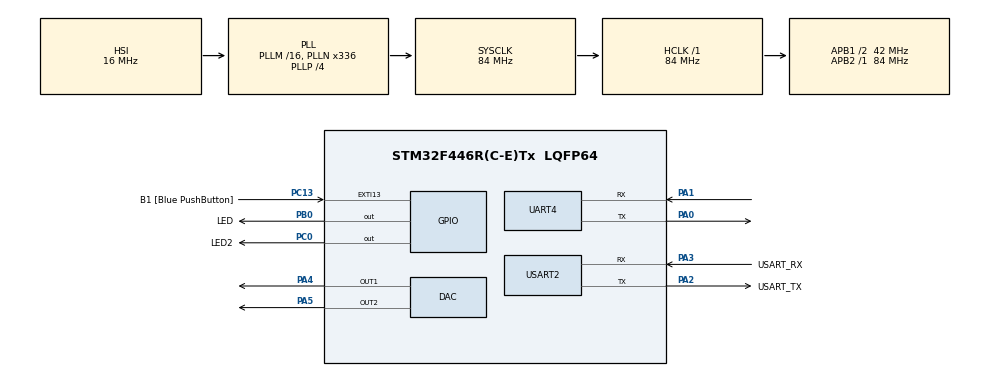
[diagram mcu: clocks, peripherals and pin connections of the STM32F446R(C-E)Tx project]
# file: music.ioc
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DAC.DAC_Trigger=DAC_TRIGGER_T6_TRGO
DAC.DAC_Trigger2=DAC_TRIGGER_T7_TRGO
Dma.DAC1.0.Direction=DMA_MEMORY_TO_PERIPH
Dma.DAC1.0.FIFOMode=DMA_FIFOMODE_DISABLE
Dma.DAC1.0.Instance=DMA1_Stream5
Dma.DAC1.0.MemDataAlignment=DMA_MDATAALIGN_WORD
Dma.DAC1.0.MemInc=DMA_MINC_ENABLE
Dma.DAC1.0.Mode=DMA_CIRCULAR
Dma.DAC1.0.PeriphDataAlignment=DMA_PDATAALIGN_WORD
Dma.DAC1.0.PeriphInc=DMA_PINC_DISABLE
Dma.DAC1.0.Priority=DMA_PRIORITY_LOW
Dma.DAC2.1.Direction=DMA_MEMORY_TO_PERIPH
Dma.DAC2.1.FIFOMode=DMA_FIFOMODE_DISABLE
Dma.DAC2.1.Instance=DMA1_Stream6
Dma.DAC2.1.MemDataAlignment=DMA_MDATAALIGN_WORD
Dma.DAC2.1.MemInc=DMA_MINC_ENABLE
Dma.DAC2.1.Mode=DMA_CIRCULAR
Dma.DAC2.1.PeriphDataAlignment=DMA_PDATAALIGN_WORD
Dma.DAC2.1.PeriphInc=DMA_PINC_DISABLE
Dma.DAC2.1.Priority=DMA_PRIORITY_LOW
Dma.Request0=DAC1
Dma.Request1=DAC2
Mcu.Family=STM32F4
Mcu.Name=STM32F446R(C-E)Tx
Mcu.Package=LQFP64
NVIC.DMA1_Stream5_IRQn=true\:0\:0\:false\:false\:true\:false\:true\:true
NVIC.DMA1_Stream6_IRQn=true\:0\:0\:false\:false\:true\:false\:true\:true
NVIC.PriorityGroup=NVIC_PRIORITYGROUP_0
NVIC.TIM3_IRQn=true\:0\:0\:false\:false\:true\:true\:true\:true
NVIC.TIM4_IRQn=true\:0\:0\:false\:false\:true\:true\:true\:true
NVIC.UART4_IRQn=true\:0\:0\:false\:false\:true\:true\:true\:true
NVIC.USART2_IRQn=true\:0\:0\:false\:false\:true\:true\:true\:true
PA0-WKUP.Mode=Asynchronous
PA0-WKUP.Signal=UART4_TX
PA1.Mode=Asynchronous
PA1.Signal=UART4_RX
PA13.GPIO_Label=TMS
PA13.Mode=Serial_Wire
PA13.Signal=SYS_JTMS-SWDIO
PA14.GPIO_Label=TCK
PA14.Mode=Serial_Wire
PA14.Signal=SYS_JTCK-SWCLK
PA2.GPIO_Label=USART_TX
PA2.Mode=Asynchronous
PA2.Signal=USART2_TX
PA3.GPIO_Label=USART_RX
PA3.Mode=Asynchronous
PA3.Signal=USART2_RX
PA4.Signal=COMP_DAC1_group
PA5.Signal=COMP_DAC2_group
PB0.GPIO_Label=LED
PB0.Signal=GPIO_Output
PB3.GPIO_Label=SWO
PB3.Signal=SYS_JTDO-SWO
PC0.GPIO_Label=LED2
PC0.Signal=GPIO_Output
PC13.GPIO_Label=B1 [Blue PushButton]
PC13.GPIO_ModeDefaultEXTI=GPIO_MODE_IT_FALLING
PC13.Signal=GPXTI13
PC14-OSC32_IN.Mode=LSE-External-Oscillator
PC14-OSC32_IN.Signal=RCC_OSC32_IN
PC15-OSC32_OUT.Mode=LSE-External-Oscillator
PC15-OSC32_OUT.Signal=RCC_OSC32_OUT
PH0-OSC_IN.Mode=HSE-External-Oscillator
PH0-OSC_IN.Signal=RCC_OSC_IN
PH1-OSC_OUT.Mode=HSE-External-Oscillator
PH1-OSC_OUT.Signal=RCC_OSC_OUT
ProjectManager.HeapSize=0x200
ProjectManager.StackSize=0x400
ProjectManager.TargetToolchain=STM32CubeIDE
RCC.48MHZClocksFreq_Value=84000000
RCC.AHBFreq_Value=84000000
RCC.APB1CLKDivider=RCC_HCLK_DIV2
RCC.APB1Freq_Value=42000000
RCC.APB1TimFreq_Value=84000000
RCC.APB2Freq_Value=84000000
RCC.APB2TimFreq_Value=84000000
RCC.CortexFreq_Value=84000000
RCC.FLatency-AdvancedSettings=FLASH_LATENCY_2
RCC.HCLKFreq_Value=84000000
RCC.HSE_VALUE=8000000
RCC.HSI_VALUE=16000000
RCC.PLLN=336
RCC.PLLP=RCC_PLLP_DIV4
RCC.SYSCLKFreq_VALUE=84000000
RCC.SYSCLKSource=RCC_SYSCLKSOURCE_PLLCLK
RCC.USBFreq_Value=168000000
RCC.VCOOutputFreq_Value=336000000
SH.COMP_DAC1_group.0=DAC_OUT1,DAC_OUT1
SH.COMP_DAC2_group.0=DAC_OUT2,DAC_OUT2
TIM3.AutoReloadPreload=TIM_AUTORELOAD_PRELOAD_ENABLE
TIM3.CounterMode=TIM_COUNTERMODE_UP
TIM3.Period=9-1
TIM3.Prescaler=8400-1
TIM4.AutoReloadPreload=TIM_AUTORELOAD_PRELOAD_ENABLE
TIM4.Period=9-1
TIM4.Prescaler=8400-1
TIM6.Period=1000-1
TIM6.Prescaler=1
TIM6.TIM_MasterOutputTrigger=TIM_TRGO_UPDATE
TIM7.Period=1000-1
TIM7.Prescaler=1
TIM7.TIM_MasterOutputTrigger=TIM_TRGO_UPDATE
UART4.VirtualMode=Asynchronous
USART2.VirtualMode=VM_ASYNC
VP_TIM3_VS_ClockSourceINT.Mode=Internal
VP_TIM4_VS_ClockSourceINT.Mode=Internal
VP_TIM6_VS_ClockSourceINT.Mode=Enable_Timer
VP_TIM7_VS_ClockSourceINT.Mode=Enable_Timer
board=NUCLEO-F446RE

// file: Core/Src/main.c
/* USER CODE BEGIN Header */
/**
  ******************************************************************************
  * @file           : main.c
  * @brief          : Main program body
  ******************************************************************************
  * @attention
  *
  * Copyright (c) 2025 STMicroelectronics.
  * All rights reserved.
  *
  * This software is licensed under terms that can be found in the LICENSE file
  * in the root directory of this software component.
  * If no LICENSE file comes with this software, it is provided AS-IS.
  *
  ******************************************************************************
  */
/* USER CODE END Header */
#include "main.h"

/* USER CODE BEGIN Includes */
#include "math.h"
#include "tones.h"
#include "stdint.h"
/* USER CODE END Includes */

DAC_HandleTypeDef hdac;
DMA_HandleTypeDef hdma_dac1;
DMA_HandleTypeDef hdma_dac2;

TIM_HandleTypeDef htim3;
TIM_HandleTypeDef htim4;
TIM_HandleTypeDef htim6;
TIM_HandleTypeDef htim7;

UART_HandleTypeDef huart4;
UART_HandleTypeDef huart2;

/* USER CODE BEGIN PV */
//uart variables
uint8_t buffer[1];
uint8_t toneNumber = 0;
uint8_t melodyIndex1 = 0;
uint8_t melodyIndex2 = 0;

int *tone1 = 0;
int *duration1 = 0;
int Nsize1 = 0;

int *tone2 = 0;
int *duration2 = 0;
int Nsize2 = 0;

typedef struct {
	int *data;
	int Dsize;
	int *durations;
} SongData;

//Music variables
#define size 128
uint32_t Ysine[size];
#define pi 3.1415926

#define TIM_FREQ 84000000
#define PSC 1
#define PSC_durations 8400

int picoParkMelody[] = {
    NOTE_E5, NOTE_E5, NOTE_FS5, NOTE_G5, NOTE_A5, NOTE_G5, NOTE_FS5, NOTE_E5,
    NOTE_CS5, NOTE_CS5, NOTE_D5, NOTE_E5, NOTE_FS5, NOTE_E5, NOTE_D5, NOTE_CS5,
    NOTE_B4, NOTE_B4, NOTE_CS5, NOTE_D5, NOTE_E5, NOTE_D5, NOTE_CS5, NOTE_B4,
    NOTE_E5, NOTE_E5, NOTE_FS5, NOTE_G5, NOTE_A5, NOTE_G5, NOTE_FS5, NOTE_E5,
    NOTE_CS5, NOTE_CS5, NOTE_D5, NOTE_E5, NOTE_FS5, NOTE_E5, NOTE_D5, NOTE_CS5,
    NOTE_B4, NOTE_GS4, NOTE_FS4, NOTE_E4, NOTE_D4, NOTE_CS4, NOTE_B3, NOTE_E4,
    NOTE_FS4, NOTE_GS4, NOTE_B4, NOTE_CS5, NOTE_D5, NOTE_E5, NOTE_FS5, NOTE_G5,
    NOTE_A5, NOTE_B5, NOTE_CS6, NOTE_DS6, NOTE_E6, NOTE_DS6, NOTE_CS6, NOTE_B5
};

int picoParkNoteDurations[] = {
    200, 200, 200, 200, 200, 200, 200, 200,
    200, 200, 200, 200, 200, 200, 200, 200,
    200, 200, 200, 200, 200, 200, 200, 200,
    200, 200, 200, 200, 200, 200, 200, 200,
    200, 200, 200, 200, 200, 200, 200, 200,
    200, 200, 200, 200, 200, 200, 200, 200,
    200, 200, 200, 200, 200, 200, 200, 200,
    200, 200, 200, 200, 200, 200, 200, 200
};

int picoParkStartMelody[] = {
    NOTE_G5, NOTE_G5, NOTE_A5, NOTE_B5, NOTE_C6, NOTE_B5, NOTE_A5, NOTE_G5,
    NOTE_E5, NOTE_E5, NOTE_FS5, NOTE_G5, NOTE_A5, NOTE_G5, NOTE_FS5, NOTE_E5,
    NOTE_C5, NOTE_C5, NOTE_D5, NOTE_E5, NOTE_F5, NOTE_E5, NOTE_D5, NOTE_C5,
    NOTE_G5, NOTE_G5, NOTE_A5, NOTE_B5, NOTE_C6, NOTE_B5, NOTE_A5, NOTE_G5,
    NOTE_E5, NOTE_E5, NOTE_FS5, NOTE_G5, NOTE_A5, NOTE_G5, NOTE_FS5, NOTE_E5,
    NOTE_C5, NOTE_A4, NOTE_G4, NOTE_FS4, NOTE_E4, NOTE_D4, NOTE_C4, NOTE_G4,
    NOTE_A4, NOTE_B4, NOTE_C5, NOTE_D5, NOTE_E5, NOTE_FS5, NOTE_G5, NOTE_A5,
    NOTE_B5, NOTE_C6, NOTE_D6, NOTE_E6, NOTE_F6, NOTE_E6, NOTE_D6, NOTE_C6
};

int picoParkStartNoteDurations[] = {
    200, 200, 200, 200, 200, 200, 200, 200,
    200, 200, 200, 200, 200, 200, 200, 200,
    200, 200, 200, 200, 200, 200, 200, 200,
    200, 200, 200, 200, 200, 200, 200, 200,
    200, 200, 200, 200, 200, 200, 200, 200,
    200, 200, 200, 200, 200, 200, 200, 200,
    200, 200, 200, 200, 200, 200, 200, 200,
    200, 200, 200, 200, 200, 200, 200, 200
};

int picoParkGrassLandMelody[] = {
    NOTE_C5, NOTE_E5, NOTE_G5, NOTE_C6,
    NOTE_D5, NOTE_F5, NOTE_A5, NOTE_D6,
    NOTE_E5, NOTE_G5, NOTE_B5, NOTE_E6,
    NOTE_F5, NOTE_A5, NOTE_C6, NOTE_F6,
    NOTE_G4, NOTE_C5, NOTE_E5, NOTE_G5,
    NOTE_A4, NOTE_D5, NOTE_F5, NOTE_A5,
    NOTE_B4, NOTE_E5, NOTE_G5, NOTE_B5,
    NOTE_C5, NOTE_F5, NOTE_A5, NOTE_C6
};

int picoParkGrassLandNoteDurations[] = {
    200, 200, 200, 200,
    200, 200, 200, 200,
    200, 200, 200, 200,
    200, 200, 200, 200,
    200, 200, 200, 200,
    200, 200, 200, 200,
    200, 200, 200, 200,
    200, 200, 200, 200
};

// Notas de la melodía de Pico Park
int picopark_notes[] = {
    NOTE_E5, NOTE_FS5, NOTE_B5, NOTE_A5, NOTE_FS5, NOTE_E5, NOTE_FS5,
    NOTE_A5, NOTE_B5, NOTE_E6, NOTE_FS6, NOTE_B5, NOTE_A5, NOTE_FS5,
    NOTE_E5, NOTE_FS5, NOTE_B5, NOTE_A5, NOTE_FS5, NOTE_E5, NOTE_FS5,
    NOTE_A5, NOTE_B5, NOTE_E6, NOTE_FS6, NOTE_B5, NOTE_A5, NOTE_FS5,

    NOTE_B5, NOTE_CS6, NOTE_FS6, NOTE_E6, NOTE_CS6, NOTE_B5, NOTE_CS6,
    NOTE_E6, NOTE_FS6, NOTE_B6, NOTE_CS7, NOTE_FS6, NOTE_E6, NOTE_CS6,
    NOTE_B5, NOTE_CS6, NOTE_FS6, NOTE_E6, NOTE_CS6, NOTE_B5, NOTE_CS6,
    NOTE_E6, NOTE_FS6, NOTE_B6, NOTE_CS7, NOTE_FS6, NOTE_E6, NOTE_CS6
};

// Duración de cada nota en milisegundos
int picopark_durations[] = {
    250, 250, 250, 250, 250, 250, 250,
    250, 250, 250, 250, 250, 250, 250,
    250, 250, 250, 250, 250, 250, 250,
    250, 250, 250, 250, 250, 250, 250,

    250, 250, 250, 250, 250, 250, 250,
    250, 250, 250, 250, 250, 250, 250,
    250, 250, 250, 250, 250, 250, 250,
    250, 250, 250, 250, 250, 250, 250
};

// Notas de la melodía durante el gameplay de Pico Park
int picopark_game_notes[] = {
    NOTE_E5, NOTE_FS5, NOTE_B5, NOTE_A5, NOTE_FS5, NOTE_E5, NOTE_FS5, NOTE_A5,
    NOTE_B5, NOTE_E6, NOTE_D6, NOTE_B5, NOTE_A5, NOTE_FS5, NOTE_E5, NOTE_FS5,
    NOTE_A5, NOTE_B5, NOTE_E6, NOTE_FS6, NOTE_E6, NOTE_B5, NOTE_A5, NOTE_FS5,

    // Variación rítmica
    NOTE_B5, NOTE_CS6, NOTE_FS6, NOTE_E6, NOTE_CS6, NOTE_B5, NOTE_A5, NOTE_B5,
    NOTE_CS6, NOTE_FS6, NOTE_E6, NOTE_CS6, NOTE_B5, NOTE_A5, NOTE_FS5, NOTE_E5,

    // Parte final
    NOTE_FS5, NOTE_A5, NOTE_B5, NOTE_E6, NOTE_FS6, NOTE_B5, NOTE_A5, NOTE_FS5,
    NOTE_E5, NOTE_FS5, NOTE_A5, NOTE_B5, NOTE_E6, NOTE_FS6, NOTE_E6, NOTE_B5
};

// Duración de cada nota en milisegundos (con variaciones rítmicas)
int picopark_game_durations[] = {
    180, 180, 180, 180, 180, 180, 180, 180,
    180, 180, 180, 180, 180, 180, 180, 180,
    180, 180, 250, 250, 180, 180, 180, 180,

    // Variación rítmica
    150, 150, 150, 150, 150, 150, 150, 150,
    150, 250, 180, 150, 150, 150, 150, 150,

    // Parte final
    180, 180, 180, 250, 250, 180, 180, 180,
    180, 180, 180, 180, 250, 250, 180, 180
};

int hornpipe_notes[] = {
    NOTE_D4, NOTE_D4, NOTE_D4, 0,
    NOTE_G4, NOTE_G4, NOTE_G4, 0,
    NOTE_B4, NOTE_B4, NOTE_B4, 0,
    NOTE_A4, NOTE_G4, NOTE_FS4, NOTE_E4,
    NOTE_D4, 0, 0, 0
};

// Duración de cada nota en milisegundos (ajustable)
int hornpipe_durations[] = {
    200, 200, 200, 50,
    200, 200, 200, 50,
    200, 200, 200, 50,
    150, 150, 150, 150,
    400, 50, 50, 50
};

int picoParkJumpSimpleMelody[] = {
    NOTE_E5, NOTE_G5, NOTE_E6
};

// Duraciones (en milisegundos) para el salto simple
int picoParkJumpSimpleDurations[] = {
    50, 50, 50
};

int interstellar[] = {
		NOTE_C4, NOTE_G3, 0, NOTE_C4, NOTE_G3
};

int interstellarDurations[] = {
		500, 500, 150, 800, 800
};

int silent[] = {0};
int silentDur[] = {10};

int picoParkLevelWin1Melody[] = {
		NOTE_E4, NOTE_F4, NOTE_C5, NOTE_B4
};

// Duraciones (en milisegundos) para la victoria de nivel (Opción 1)
int picoParkLevelWin1Durations[] = {
		500, 200, 600, 250
};

int picoParkDead[] = {
    NOTE_C6, NOTE_E6, NOTE_G6, NOTE_C7
};

// Duraciones (en milisegundos) para la victoria de nivel (Opción 1)
int picoParkDeadDur[] = {
    150, 150, 150, 300
};

// Arreglo de notas para la victoria de nivel (Opción 7 - Ascenso Brillante)
int victoryBrightAscendMelody[] = {
    NOTE_C5, NOTE_D5, NOTE_E5, NOTE_G5, NOTE_C5, NOTE_C5, NOTE_D5, NOTE_E5, NOTE_G5, NOTE_C5
};

// Duraciones (en milisegundos) para la victoria de nivel (Opción 7 - Ascenso Brillante)
int victoryBrightAscendDurations[] = {
    100, 100, 100, 200, 400, 100, 100, 100, 200, 400
};

/* USER CODE END PV */

void SystemClock_Config(void);
static void MX_GPIO_Init(void);
static void MX_DMA_Init(void);
static void MX_USART2_UART_Init(void);
static void MX_DAC_Init(void);
static void MX_TIM6_Init(void);
static void MX_UART4_Init(void);
static void MX_TIM7_Init(void);
static void MX_TIM3_Init(void);
static void MX_TIM4_Init(void);
/* USER CODE BEGIN PFP */
void genSin(void);
int calculateARR(int freq);
int ARRdurationTimers(int time);
void playTone(int *tone, int *duration, int *pause, int Nsize);
void noTone1();
void noTone2();
void selectSong(SongData songData);
/* USER CODE END PFP */

/* USER CODE BEGIN 0 */
SongData cancion0 = {picoParkStartMelody, sizeof(picoParkStartMelody)/sizeof(picoParkStartMelody[0]), picoParkStartNoteDurations};
SongData cancion1 = {picoParkGrassLandMelody, sizeof(picoParkGrassLandMelody)/sizeof(picoParkGrassLandMelody[0]), picoParkGrassLandNoteDurations};
SongData cancion2 = {picoParkMelody, sizeof(picoParkMelody)/sizeof(picoParkMelody[0]), picoParkNoteDurations};
SongData cancion3 = {picopark_game_notes, sizeof(picopark_game_notes)/sizeof(picopark_game_notes[0]), picopark_game_durations};
SongData cancion4 = {picopark_notes, sizeof(picopark_notes)/sizeof(picopark_notes[0]), picopark_durations};
SongData cancion5 = {hornpipe_notes, sizeof(hornpipe_notes)/sizeof(hornpipe_notes[0]), hornpipe_durations};

SongData sound1 = {picoParkJumpSimpleMelody, sizeof(picoParkJumpSimpleMelody)/sizeof(picoParkJumpSimpleMelody[0]), picoParkJumpSimpleDurations};
SongData sound2 = {interstellar, sizeof(interstellar)/sizeof(interstellar[0]), interstellarDurations};
SongData sound3 = {silent, sizeof(silent)/sizeof(silent), silentDur};
SongData sound4 = {picoParkLevelWin1Melody, sizeof(picoParkLevelWin1Melody)/sizeof(picoParkLevelWin1Melody[0]), picoParkLevelWin1Durations};
SongData sound5 = {picoParkDead, sizeof(picoParkDead)/sizeof(picoParkDead[0]), picoParkDeadDur};
SongData sound6 = {victoryBrightAscendMelody, sizeof(victoryBrightAscendMelody)/sizeof(victoryBrightAscendMelody[0]), victoryBrightAscendDurations};

void genSin(void){
	for(int x = 0; x < size; x++) Ysine[x] = ((sin(x * 2 * pi / size) + 1) * (4096/2));
}

int calculateARR(int freq){			// calculates period
	if(freq == 0) return 0;
	int TF = size * freq;
	return ((TIM_FREQ / ((PSC + 1) * TF)) - 1);
}

int ARRdurationTimers(int time){			// calculates period
	if(time == 0) return 0;
	int freq = 1000 / time;
	return ((TIM_FREQ / ((PSC_durations + 1) * freq)) - 1);
}

void selectSong1(SongData songData){
	  tone1 = songData.data;
	  duration1 = songData.durations;
	  Nsize1 = songData.Dsize;
}

void selectSong2(SongData songData){
	  tone2 = songData.data;
	  duration2 = songData.durations;
	  Nsize2 = songData.Dsize;
}

void noTone1(){
	TIM6 -> ARR = 0;								// sets ARR to zero
}

void noTone2(){
	TIM7 -> ARR = 0;								// sets ARR to zero
}
/* USER CODE END 0 */

int main(void)
{

  /* MCU Configuration--------------------------------------------------------*/

  /* Reset of all peripherals, Initializes the Flash interface and the Systick. */
  HAL_Init();

  /* Configure the system clock */
  SystemClock_Config();

  /* Initialize all configured peripherals */
  MX_GPIO_Init();
  MX_DMA_Init();
  MX_USART2_UART_Init();
  MX_DAC_Init();
  MX_TIM6_Init();
  MX_UART4_Init();
  MX_TIM7_Init();
  MX_TIM3_Init();
  MX_TIM4_Init();
  /* USER CODE BEGIN 2 */
  genSin();
  HAL_DAC_Init(&hdac);
  HAL_TIM_Base_Start(&htim6);
  HAL_TIM_Base_Start(&htim7);

  HAL_UART_Receive_IT(&huart4, buffer, 1);		// Start receiving, save data to buffer

  HAL_DAC_Start_DMA(&hdac, DAC1_CHANNEL_1, Ysine, size, DAC_ALIGN_12B_R);
  HAL_DAC_Start_DMA(&hdac, DAC_CHANNEL_2, Ysine, size, DAC_ALIGN_12B_R);

  selectSong1(sound3);
  selectSong2(sound3);
  noTone1();
  noTone2();
  HAL_TIM_Base_Start_IT(&htim3);		// starts timer 3, select song first
  HAL_TIM_Base_Start_IT(&htim4);		// starts timer 3, select song first
  /* USER CODE END 2 */

  /* Infinite loop */
  while (1)
  {

  }
}

void SystemClock_Config(void)
{
  RCC_OscInitTypeDef RCC_OscInitStruct = {0};
  RCC_ClkInitTypeDef RCC_ClkInitStruct = {0};

  /** Configure the main internal regulator output voltage
  */
  __HAL_RCC_PWR_CLK_ENABLE();
  __HAL_PWR_VOLTAGESCALING_CONFIG(PWR_REGULATOR_VOLTAGE_SCALE3);

  /** Initializes the RCC Oscillators according to the specified parameters
  * in the RCC_OscInitTypeDef structure.
  */
  RCC_OscInitStruct.OscillatorType = RCC_OSCILLATORTYPE_HSI;
  RCC_OscInitStruct.HSIState = RCC_HSI_ON;
  RCC_OscInitStruct.HSICalibrationValue = RCC_HSICALIBRATION_DEFAULT;
  RCC_OscInitStruct.PLL.PLLState = RCC_PLL_ON;
  RCC_OscInitStruct.PLL.PLLSource = RCC_PLLSOURCE_HSI;
  RCC_OscInitStruct.PLL.PLLM = 16;
  RCC_OscInitStruct.PLL.PLLN = 336;
  RCC_OscInitStruct.PLL.PLLP = RCC_PLLP_DIV4;
  RCC_OscInitStruct.PLL.PLLQ = 2;
  RCC_OscInitStruct.PLL.PLLR = 2;
  if (HAL_RCC_OscConfig(&RCC_OscInitStruct) != HAL_OK)
  {
    Error_Handler();
  }

  /** Initializes the CPU, AHB and APB buses clocks
  */
  RCC_ClkInitStruct.ClockType = RCC_CLOCKTYPE_HCLK|RCC_CLOCKTYPE_SYSCLK
                              |RCC_CLOCKTYPE_PCLK1|RCC_CLOCKTYPE_PCLK2;
  RCC_ClkInitStruct.SYSCLKSource = RCC_SYSCLKSOURCE_PLLCLK;
  RCC_ClkInitStruct.AHBCLKDivider = RCC_SYSCLK_DIV1;
  RCC_ClkInitStruct.APB1CLKDivider = RCC_HCLK_DIV2;
  RCC_ClkInitStruct.APB2CLKDivider = RCC_HCLK_DIV1;

  if (HAL_RCC_ClockConfig(&RCC_ClkInitStruct, FLASH_LATENCY_2) != HAL_OK)
  {
    Error_Handler();
  }
}

static void MX_DAC_Init(void)
{

  DAC_ChannelConfTypeDef sConfig = {0};

  /** DAC Initialization
  */
  hdac.Instance = DAC;
  if (HAL_DAC_Init(&hdac) != HAL_OK)
  {
    Error_Handler();
  }

  /** DAC channel OUT1 config
  */
  sConfig.DAC_Trigger = DAC_TRIGGER_T6_TRGO;
  sConfig.DAC_OutputBuffer = DAC_OUTPUTBUFFER_ENABLE;
  if (HAL_DAC_ConfigChannel(&hdac, &sConfig, DAC_CHANNEL_1) != HAL_OK)
  {
    Error_Handler();
  }

  /** DAC channel OUT2 config
  */
  sConfig.DAC_Trigger = DAC_TRIGGER_T7_TRGO;
  if (HAL_DAC_ConfigChannel(&hdac, &sConfig, DAC_CHANNEL_2) != HAL_OK)
  {
    Error_Handler();
  }

}

static void MX_TIM3_Init(void)
{

  TIM_ClockConfigTypeDef sClockSourceConfig = {0};
  TIM_MasterConfigTypeDef sMasterConfig = {0};

  htim3.Instance = TIM3;
  htim3.Init.Prescaler = 8400-1;
  htim3.Init.CounterMode = TIM_COUNTERMODE_UP;
  htim3.Init.Period = 9-1;
  htim3.Init.ClockDivision = TIM_CLOCKDIVISION_DIV1;
  htim3.Init.AutoReloadPreload = TIM_AUTORELOAD_PRELOAD_ENABLE;
  if (HAL_TIM_Base_Init(&htim3) != HAL_OK)
  {
    Error_Handler();
  }
  sClockSourceConfig.ClockSource = TIM_CLOCKSOURCE_INTERNAL;
  if (HAL_TIM_ConfigClockSource(&htim3, &sClockSourceConfig) != HAL_OK)
  {
    Error_Handler();
  }
  sMasterConfig.MasterOutputTrigger = TIM_TRGO_RESET;
  sMasterConfig.MasterSlaveMode = TIM_MASTERSLAVEMODE_DISABLE;
  if (HAL_TIMEx_MasterConfigSynchronization(&htim3, &sMasterConfig) != HAL_OK)
  {
    Error_Handler();
  }

}

static void MX_TIM4_Init(void)
{

  TIM_ClockConfigTypeDef sClockSourceConfig = {0};
  TIM_MasterConfigTypeDef sMasterConfig = {0};

  htim4.Instance = TIM4;
  htim4.Init.Prescaler = 8400-1;
  htim4.Init.CounterMode = TIM_COUNTERMODE_UP;
  htim4.Init.Period = 9-1;
  htim4.Init.ClockDivision = TIM_CLOCKDIVISION_DIV1;
  htim4.Init.AutoReloadPreload = TIM_AUTORELOAD_PRELOAD_ENABLE;
  if (HAL_TIM_Base_Init(&htim4) != HAL_OK)
  {
    Error_Handler();
  }
  sClockSourceConfig.ClockSource = TIM_CLOCKSOURCE_INTERNAL;
  if (HAL_TIM_ConfigClockSource(&htim4, &sClockSourceConfig) != HAL_OK)
  {
    Error_Handler();
  }
  sMasterConfig.MasterOutputTrigger = TIM_TRGO_RESET;
  sMasterConfig.MasterSlaveMode = TIM_MASTERSLAVEMODE_DISABLE;
  if (HAL_TIMEx_MasterConfigSynchronization(&htim4, &sMasterConfig) != HAL_OK)
  {
    Error_Handler();
  }

}

static void MX_TIM6_Init(void)
{

  TIM_MasterConfigTypeDef sMasterConfig = {0};

  htim6.Instance = TIM6;
  htim6.Init.Prescaler = 1;
  htim6.Init.CounterMode = TIM_COUNTERMODE_UP;
  htim6.Init.Period = 1000-1;
  htim6.Init.AutoReloadPreload = TIM_AUTORELOAD_PRELOAD_DISABLE;
  if (HAL_TIM_Base_Init(&htim6) != HAL_OK)
  {
    Error_Handler();
  }
  sMasterConfig.MasterOutputTrigger = TIM_TRGO_UPDATE;
  sMasterConfig.MasterSlaveMode = TIM_MASTERSLAVEMODE_DISABLE;
  if (HAL_TIMEx_MasterConfigSynchronization(&htim6, &sMasterConfig) != HAL_OK)
  {
    Error_Handler();
  }

}

static void MX_TIM7_Init(void)
{

  TIM_MasterConfigTypeDef sMasterConfig = {0};

  htim7.Instance = TIM7;
  htim7.Init.Prescaler = 1;
  htim7.Init.CounterMode = TIM_COUNTERMODE_UP;
  htim7.Init.Period = 1000-1;
  htim7.Init.AutoReloadPreload = TIM_AUTORELOAD_PRELOAD_DISABLE;
  if (HAL_TIM_Base_Init(&htim7) != HAL_OK)
  {
    Error_Handler();
  }
  sMasterConfig.MasterOutputTrigger = TIM_TRGO_UPDATE;
  sMasterConfig.MasterSlaveMode = TIM_MASTERSLAVEMODE_DISABLE;
  if (HAL_TIMEx_MasterConfigSynchronization(&htim7, &sMasterConfig) != HAL_OK)
  {
    Error_Handler();
  }

}

static void MX_UART4_Init(void)
{

  huart4.Instance = UART4;
  huart4.Init.BaudRate = 115200;
  huart4.Init.WordLength = UART_WORDLENGTH_8B;
  huart4.Init.StopBits = UART_STOPBITS_1;
  huart4.Init.Parity = UART_PARITY_NONE;
  huart4.Init.Mode = UART_MODE_TX_RX;
  huart4.Init.HwFlowCtl = UART_HWCONTROL_NONE;
  huart4.Init.OverSampling = UART_OVERSAMPLING_16;
  if (HAL_UART_Init(&huart4) != HAL_OK)
  {
    Error_Handler();
  }

}

static void MX_USART2_UART_Init(void)
{

  huart2.Instance = USART2;
  huart2.Init.BaudRate = 115200;
  huart2.Init.WordLength = UART_WORDLENGTH_8B;
  huart2.Init.StopBits = UART_STOPBITS_1;
  huart2.Init.Parity = UART_PARITY_NONE;
  huart2.Init.Mode = UART_MODE_TX_RX;
  huart2.Init.HwFlowCtl = UART_HWCONTROL_NONE;
  huart2.Init.OverSampling = UART_OVERSAMPLING_16;
  if (HAL_UART_Init(&huart2) != HAL_OK)
  {
    Error_Handler();
  }

}

static void MX_DMA_Init(void)
{

  /* DMA controller clock enable */
  __HAL_RCC_DMA1_CLK_ENABLE();

  /* DMA interrupt init */
  /* DMA1_Stream5_IRQn interrupt configuration */
  HAL_NVIC_SetPriority(DMA1_Stream5_IRQn, 0, 0);
  HAL_NVIC_EnableIRQ(DMA1_Stream5_IRQn);
  /* DMA1_Stream6_IRQn interrupt configuration */
  HAL_NVIC_SetPriority(DMA1_Stream6_IRQn, 0, 0);
  HAL_NVIC_EnableIRQ(DMA1_Stream6_IRQn);

}

static void MX_GPIO_Init(void)
{
  GPIO_InitTypeDef GPIO_InitStruct = {0};

  /* GPIO Ports Clock Enable */
  __HAL_RCC_GPIOC_CLK_ENABLE();
  __HAL_RCC_GPIOH_CLK_ENABLE();
  __HAL_RCC_GPIOA_CLK_ENABLE();
  __HAL_RCC_GPIOB_CLK_ENABLE();

  /*Configure GPIO pin Output Level */
  HAL_GPIO_WritePin(LED2_GPIO_Port, LED2_Pin, GPIO_PIN_RESET);

  /*Configure GPIO pin Output Level */
  HAL_GPIO_WritePin(LED_GPIO_Port, LED_Pin, GPIO_PIN_RESET);

  /*Configure GPIO pin : B1_Pin */
  GPIO_InitStruct.Pin = B1_Pin;
  GPIO_InitStruct.Mode = GPIO_MODE_IT_FALLING;
  GPIO_InitStruct.Pull = GPIO_NOPULL;
  HAL_GPIO_Init(B1_GPIO_Port, &GPIO_InitStruct);

  /*Configure GPIO pin : LED2_Pin */
  GPIO_InitStruct.Pin = LED2_Pin;
  GPIO_InitStruct.Mode = GPIO_MODE_OUTPUT_PP;
  GPIO_InitStruct.Pull = GPIO_NOPULL;
  GPIO_InitStruct.Speed = GPIO_SPEED_FREQ_LOW;
  HAL_GPIO_Init(LED2_GPIO_Port, &GPIO_InitStruct);

  /*Configure GPIO pin : LED_Pin */
  GPIO_InitStruct.Pin = LED_Pin;
  GPIO_InitStruct.Mode = GPIO_MODE_OUTPUT_PP;
  GPIO_InitStruct.Pull = GPIO_NOPULL;
  GPIO_InitStruct.Speed = GPIO_SPEED_FREQ_LOW;
  HAL_GPIO_Init(LED_GPIO_Port, &GPIO_InitStruct);

}

/* USER CODE BEGIN 4 */
void HAL_UART_RxCpltCallback(UART_HandleTypeDef *huart){
	HAL_UART_Transmit(&huart2, "Send: ",sizeof("Send: "), 250);

	switch (buffer[0]) {
		case '0': noTone1(); selectSong1(cancion0); melodyIndex1 = 0; TIM4 -> ARR = ARRdurationTimers(duration1[melodyIndex1]); break;
		case '1': noTone1(); selectSong1(cancion1); melodyIndex1 = 0; TIM4 -> ARR = ARRdurationTimers(duration1[melodyIndex1]); break;
		case '2': noTone1(); selectSong1(cancion2); melodyIndex1 = 0; TIM4 -> ARR = ARRdurationTimers(duration1[melodyIndex1]); break;
		case '3': noTone1(); selectSong1(cancion3); melodyIndex1 = 0; TIM4 -> ARR = ARRdurationTimers(duration1[melodyIndex1]); break;
		case '4': noTone1(); selectSong1(cancion4); melodyIndex1 = 0; TIM4 -> ARR = ARRdurationTimers(duration1[melodyIndex1]); break;
		case '5': noTone1(); selectSong1(cancion5); melodyIndex1 = 0; TIM4 -> ARR = ARRdurationTimers(duration1[melodyIndex1]); break;
		case '6': noTone1(); selectSong1(sound3); melodyIndex1 = 0; TIM4 -> ARR = ARRdurationTimers(duration1[melodyIndex1]); break;

		case 'A': noTone2(); selectSong2(sound1); melodyIndex2 = 0; TIM3 -> ARR = ARRdurationTimers(duration2[melodyIndex2]); break;
		case 'B': noTone2(); selectSong2(sound6); melodyIndex2 = 0; TIM3 -> ARR = ARRdurationTimers(duration2[melodyIndex2]); break;
		case 'C': noTone2(); selectSong2(sound4); melodyIndex2 = 0; TIM3 -> ARR = ARRdurationTimers(duration2[melodyIndex2]); break;

		default: HAL_UART_Transmit(&huart2, buffer[0],sizeof(buffer[0]), 250); break;
	}

	HAL_UART_Receive_IT(&huart4, buffer, 1);		// Restart receiving
}

void HAL_TIM_PeriodElapsedCallback(TIM_HandleTypeDef *htim){
	// Channel 1 DAC control
	if(htim == &htim4){
		HAL_GPIO_TogglePin(LED2_GPIO_Port, LED2_Pin);
		noTone1();									// pause
		int valARR1= calculateARR(tone1[melodyIndex1]);			//calculate ARR values
		TIM6 -> ARR = valARR1;						// sets ARR value
		TIM4 -> ARR = ARRdurationTimers(duration1[melodyIndex1]);
		melodyIndex1++;
		if(melodyIndex1 >= Nsize1) melodyIndex1 = 0;
	}

	// Channel 2 DAC control
	if(htim == &htim3){
		HAL_GPIO_TogglePin(LED_GPIO_Port, LED_Pin);
		noTone2();									// pause
		if(melodyIndex2 >= Nsize2) TIM7 -> ARR = 0;
		else{
			int valARR2 = calculateARR(tone2[melodyIndex2]);			//calculate ARR values
			TIM7 -> ARR = valARR2;										// sets ARR value
			TIM3 -> ARR = ARRdurationTimers(duration2[melodyIndex2]);
			melodyIndex2++;
		}
	}
}

/* USER CODE END 4 */

void Error_Handler(void)
{
  __disable_irq();
  while (1)
  {
  }
}
